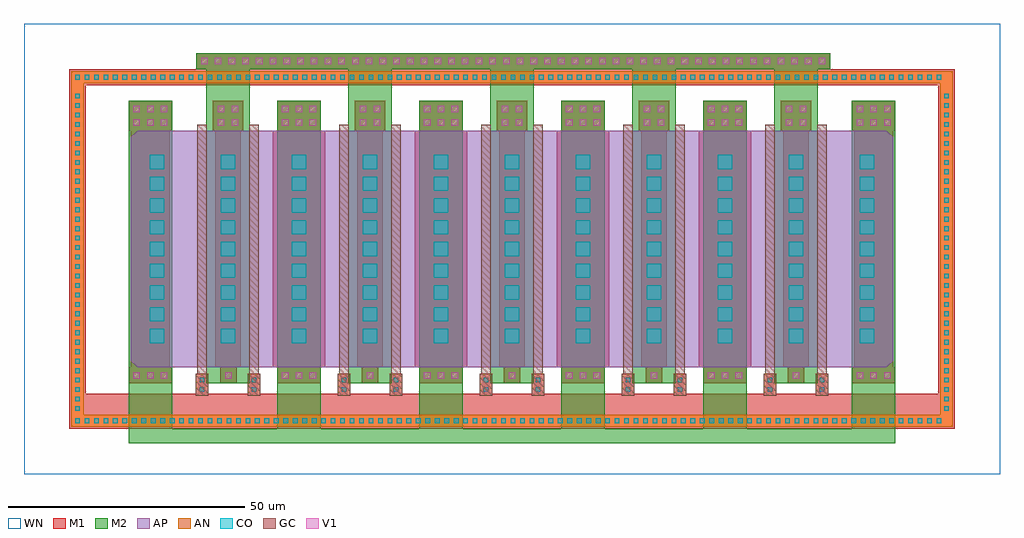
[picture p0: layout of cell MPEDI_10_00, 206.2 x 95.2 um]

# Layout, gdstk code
import gdstk
lib = gdstk.Library(unit=1e-6, precision=1e-09)
def R(c, l, rs):  # rectangles x0, y0, x1, y1
    for r in rs: c.add(gdstk.rectangle(r[:2], r[2:], *l))
def A(c, l, x, y, w, h, nx, ny, dx, dy):  # array of equal rectangles
    R(c, l, [(x+i*dx, y+j*dy, x+i*dx+w, y+j*dy+h) for i in range(nx) for j in range(ny)])
def P(c, l, *ps):  # polygons
    for p in ps: c.add(gdstk.Polygon(p, *l))
AP = (3, 1)
AN = (3, 2)
GC = (8, 1)
CO = (11, 0)
M1 = (13, 0)
V1 = (19, 0)
M2 = (20, 0)
WN = (140, 0)

wlmp_cdns_696587135012 = lib.new_cell('WLMP_CDNS_696587135012')
R(wlmp_cdns_696587135012, WN, [(1.5,1.5,207.7,96.7)])

sgct_cdns_696587135010 = lib.new_cell('SGCT_CDNS_696587135010')
R(sgct_cdns_696587135010, GC, [(-1.3,-2.3,1.3,2.3)])
R(sgct_cdns_696587135010, CO, [(-0.5,-1.5,0.5,-0.5), (-0.5,0.5,0.5,1.5)])
R(sgct_cdns_696587135010, M1, [(-1.3,-2.3,1.3,2.3)])

tc14_cdns_696587135011 = lib.new_cell('TC14_CDNS_696587135011')
R(tc14_cdns_696587135011, M1, [(-4.6,-1.7,4.6,1.7)])
A(tc14_cdns_696587135011, V1, -3.6, -0.7, 1.4, 1.4, 3, 1, 2.9, 0)
R(tc14_cdns_696587135011, M2, [(-4.6,-1.7,4.6,1.7)])

tc14_cdns_696587135012 = lib.new_cell('TC14_CDNS_696587135012')
R(tc14_cdns_696587135012, M1, [(-4.6,-3.1,4.6,3.2)])
A(tc14_cdns_696587135012, V1, -3.6, -2.1, 1.4, 1.4, 3, 2, 2.9, 2.9)
R(tc14_cdns_696587135012, M2, [(-4.6,-3.1,4.6,3.2)])

tc14_cdns_696587135013 = lib.new_cell('TC14_CDNS_696587135013')
R(tc14_cdns_696587135013, M1, [(-1.7,-3.1,1.7,3.2)])
R(tc14_cdns_696587135013, V1, [(-0.7,-2.1,0.7,-0.7), (-0.7,0.8,0.7,2.2)])
R(tc14_cdns_696587135013, M2, [(-1.7,-3.1,1.7,3.2)])

tc14_cdns_696587135014 = lib.new_cell('TC14_CDNS_696587135014')
R(tc14_cdns_696587135014, M1, [(-1.7,-1.7,1.7,1.7)])
R(tc14_cdns_696587135014, V1, [(-0.7,-0.7,0.7,0.7)])
R(tc14_cdns_696587135014, M2, [(-1.7,-1.7,1.7,1.7)])

tc14_cdns_696587135015 = lib.new_cell('TC14_CDNS_696587135015')
R(tc14_cdns_696587135015, M1, [(-66.9,-1.7,67,1.7)])
A(tc14_cdns_696587135015, V1, -65.9, -0.7, 1.4, 1.4, 46, 1, 2.9, 0)
R(tc14_cdns_696587135015, M2, [(-66.9,-1.7,67,1.7)])

mpedi_10_00 = lib.new_cell('MPEDI_10_00')
P(mpedi_10_00, AP, [(25.5,24.1),(24.1,25.5),(24.1,72.7),(25.5,74.1),(183.7,74.1),(185.1,72.7),(185.1,25.5),(183.7,24.1)])
P(mpedi_10_00, AN, [(11.5,11.5),(11.5,84.1),(14.1,84.1),(14.1,14.1),(195.1,14.1),(195.1,84.1),(11.5,84.1),(11.5,86.7),(197.7,86.7),(197.7,11.5)],
  [(11.5,11.5),(11.5,84.1),(14.1,84.1),(14.1,14.1),(195.1,14.1),(195.1,84.1),(11.5,84.1),(11.5,86.7),(197.7,86.7),(197.7,11.5)])
R(mpedi_10_00, GC, [(38.1,22.7,40.1,75.3), (49.1,22.7,51.1,75.3), (68.1,22.7,70.1,75.3), (79.1,22.7,81.1,75.3), (98.1,22.7,100.1,75.3), (109.1,22.7,111.1,75.3), (128.1,22.7,130.1,75.3), (139.1,22.7,141.1,75.3), (158.1,22.7,160.1,75.3), (169.1,22.7,171.1,75.3)])
A(mpedi_10_00, CO, 12.3, 12.3, 1, 1, 92, 2, 2, 72.6)
A(mpedi_10_00, CO, 12.3, 14.9, 1, 1, 1, 34, 0, 2)
A(mpedi_10_00, CO, 195.9, 14.9, 1, 1, 1, 34, 0, 2)
A(mpedi_10_00, CO, 28.1, 29.2, 3, 3, 1, 9, 0, 4.6)
A(mpedi_10_00, CO, 178.1, 29.2, 3, 3, 1, 9, 0, 4.6)
R(mpedi_10_00, CO, [(43.1,29.2,46.1,32.2), (43.1,29.2,46.1,32.2), (58.1,29.2,61.1,32.2), (58.1,29.2,61.1,32.2), (73.1,29.2,76.1,32.2), (73.1,29.2,76.1,32.2), (88.1,29.2,91.1,32.2), (88.1,29.2,91.1,32.2), (103.1,29.2,106.1,32.2), (103.1,29.2,106.1,32.2), (118.1,29.2,121.1,32.2), (118.1,29.2,121.1,32.2), (133.1,29.2,136.1,32.2), (133.1,29.2,136.1,32.2), (148.1,29.2,151.1,32.2), (148.1,29.2,151.1,32.2), (163.1,29.2,166.1,32.2), (163.1,29.2,166.1,32.2), (43.1,33.8,46.1,36.8), (43.1,33.8,46.1,36.8), (58.1,33.8,61.1,36.8), (58.1,33.8,61.1,36.8), (73.1,33.8,76.1,36.8), (73.1,33.8,76.1,36.8), (88.1,33.8,91.1,36.8), (88.1,33.8,91.1,36.8), (103.1,33.8,106.1,36.8), (103.1,33.8,106.1,36.8), (118.1,33.8,121.1,36.8), (118.1,33.8,121.1,36.8), (133.1,33.8,136.1,36.8), (133.1,33.8,136.1,36.8), (148.1,33.8,151.1,36.8), (148.1,33.8,151.1,36.8), (163.1,33.8,166.1,36.8), (163.1,33.8,166.1,36.8), (43.1,38.4,46.1,41.4), (43.1,38.4,46.1,41.4), (58.1,38.4,61.1,41.4), (58.1,38.4,61.1,41.4), (73.1,38.4,76.1,41.4), (73.1,38.4,76.1,41.4), (88.1,38.4,91.1,41.4), (88.1,38.4,91.1,41.4), (103.1,38.4,106.1,41.4), (103.1,38.4,106.1,41.4), (118.1,38.4,121.1,41.4), (118.1,38.4,121.1,41.4), (133.1,38.4,136.1,41.4), (133.1,38.4,136.1,41.4), (148.1,38.4,151.1,41.4), (148.1,38.4,151.1,41.4), (163.1,38.4,166.1,41.4), (163.1,38.4,166.1,41.4), (43.1,43,46.1,46), (43.1,43,46.1,46), (58.1,43,61.1,46), (58.1,43,61.1,46), (73.1,43,76.1,46), (73.1,43,76.1,46), (88.1,43,91.1,46), (88.1,43,91.1,46), (103.1,43,106.1,46), (103.1,43,106.1,46), (118.1,43,121.1,46), (118.1,43,121.1,46), (133.1,43,136.1,46), (133.1,43,136.1,46), (148.1,43,151.1,46), (148.1,43,151.1,46), (163.1,43,166.1,46), (163.1,43,166.1,46), (43.1,47.6,46.1,50.6), (43.1,47.6,46.1,50.6), (58.1,47.6,61.1,50.6), (58.1,47.6,61.1,50.6), (73.1,47.6,76.1,50.6), (73.1,47.6,76.1,50.6), (88.1,47.6,91.1,50.6), (88.1,47.6,91.1,50.6), (103.1,47.6,106.1,50.6), (103.1,47.6,106.1,50.6), (118.1,47.6,121.1,50.6), (118.1,47.6,121.1,50.6), (133.1,47.6,136.1,50.6), (133.1,47.6,136.1,50.6), (148.1,47.6,151.1,50.6), (148.1,47.6,151.1,50.6), (163.1,47.6,166.1,50.6), (163.1,47.6,166.1,50.6), (43.1,52.2,46.1,55.2), (43.1,52.2,46.1,55.2), (58.1,52.2,61.1,55.2), (58.1,52.2,61.1,55.2), (73.1,52.2,76.1,55.2), (73.1,52.2,76.1,55.2), (88.1,52.2,91.1,55.2), (88.1,52.2,91.1,55.2), (103.1,52.2,106.1,55.2), (103.1,52.2,106.1,55.2), (118.1,52.2,121.1,55.2), (118.1,52.2,121.1,55.2), (133.1,52.2,136.1,55.2), (133.1,52.2,136.1,55.2), (148.1,52.2,151.1,55.2), (148.1,52.2,151.1,55.2), (163.1,52.2,166.1,55.2), (163.1,52.2,166.1,55.2), (43.1,56.8,46.1,59.8), (43.1,56.8,46.1,59.8), (58.1,56.8,61.1,59.8), (58.1,56.8,61.1,59.8), (73.1,56.8,76.1,59.8), (73.1,56.8,76.1,59.8), (88.1,56.8,91.1,59.8), (88.1,56.8,91.1,59.8), (103.1,56.8,106.1,59.8), (103.1,56.8,106.1,59.8), (118.1,56.8,121.1,59.8), (118.1,56.8,121.1,59.8), (133.1,56.8,136.1,59.8), (133.1,56.8,136.1,59.8), (148.1,56.8,151.1,59.8), (148.1,56.8,151.1,59.8), (163.1,56.8,166.1,59.8), (163.1,56.8,166.1,59.8), (43.1,61.4,46.1,64.4), (43.1,61.4,46.1,64.4), (58.1,61.4,61.1,64.4), (58.1,61.4,61.1,64.4), (73.1,61.4,76.1,64.4), (73.1,61.4,76.1,64.4), (88.1,61.4,91.1,64.4), (88.1,61.4,91.1,64.4), (103.1,61.4,106.1,64.4), (103.1,61.4,106.1,64.4), (118.1,61.4,121.1,64.4), (118.1,61.4,121.1,64.4), (133.1,61.4,136.1,64.4), (133.1,61.4,136.1,64.4), (148.1,61.4,151.1,64.4), (148.1,61.4,151.1,64.4), (163.1,61.4,166.1,64.4), (163.1,61.4,166.1,64.4), (43.1,66,46.1,69), (43.1,66,46.1,69), (58.1,66,61.1,69), (58.1,66,61.1,69), (73.1,66,76.1,69), (73.1,66,76.1,69), (88.1,66,91.1,69), (88.1,66,91.1,69), (103.1,66,106.1,69), (103.1,66,106.1,69), (118.1,66,121.1,69), (118.1,66,121.1,69), (133.1,66,136.1,69), (133.1,66,136.1,69), (148.1,66,151.1,69), (148.1,66,151.1,69), (163.1,66,166.1,69), (163.1,66,166.1,69)])
R(mpedi_10_00, M1, [(11.5,11.5,197.7,14.1), (11.5,14.1,14.1,84.1), (14.1,14.1,195.1,18.5), (195.1,14.1,197.7,84.1), (24.1,24.1,32.3,74.1), (41.9,24.1,47.3,74.1), (41.9,24.1,47.3,74.1), (54.1,24.1,62.3,74.1), (56.9,24.1,65.1,74.1), (71.9,24.1,77.3,74.1), (71.9,24.1,77.3,74.1), (84.1,24.1,92.3,74.1), (86.9,24.1,95.1,74.1), (101.9,24.1,107.3,74.1), (101.9,24.1,107.3,74.1), (114.1,24.1,122.3,74.1), (116.9,24.1,125.1,74.1), (131.9,24.1,137.3,74.1), (131.9,24.1,137.3,74.1), (144.1,24.1,152.3,74.1), (146.9,24.1,155.1,74.1), (161.9,24.1,167.3,74.1), (161.9,24.1,167.3,74.1), (176.9,24.1,185.1,74.1), (11.5,84.1,197.7,86.7)])
A(mpedi_10_00, M2, 55, 8.1, 9.2, 72.3, 4, 1, 30, 0)
A(mpedi_10_00, M2, 40, 20.7, 9.2, 69.8, 5, 1, 30, 0)
R(mpedi_10_00, M2, [(23.6,8.1,32.8,80.4), (23.6,8.1,25,9.5), (176.4,8.1,185.6,80.4), (38,89.1,39.4,90.5)])
mpedi_10_00.add(gdstk.FlexPath([(170.1,19.4),(170.1,17.2),(39.1,17.2),(39.1,19.4)], 2.6, ends="flush", simple_path=True, layer=13, datatype=0))  # M1
mpedi_10_00.add(gdstk.FlexPath([(196.4,11.1),(196.4,87.1)], 3.4, ends="flush", simple_path=True, layer=13, datatype=0))  # M1
mpedi_10_00.add(gdstk.FlexPath([(12.8,11.1),(12.8,87.1)], 3.4, ends="flush", simple_path=True, layer=13, datatype=0))  # M1
mpedi_10_00.add(gdstk.FlexPath([(11.1,85.4),(198.1,85.4)], 3.4, ends="flush", simple_path=True, layer=13, datatype=0))  # M1
mpedi_10_00.add(gdstk.FlexPath([(11.1,12.8),(198.1,12.8)], 3.4, ends="flush", simple_path=True, layer=13, datatype=0))  # M1
mpedi_10_00.add(gdstk.FlexPath([(185.6,9.6),(23.6,9.6)], 3, ends="flush", simple_path=True, layer=20, datatype=0))  # M2
mpedi_10_00.add(gdstk.Reference(wlmp_cdns_696587135012, (0,0)))
mpedi_10_00.add(gdstk.Reference(sgct_cdns_696587135010, (170.1,20.4)))
mpedi_10_00.add(gdstk.Reference(sgct_cdns_696587135010, (159.1,20.4)))
mpedi_10_00.add(gdstk.Reference(sgct_cdns_696587135010, (140.1,20.4)))
mpedi_10_00.add(gdstk.Reference(sgct_cdns_696587135010, (129.1,20.4)))
mpedi_10_00.add(gdstk.Reference(sgct_cdns_696587135010, (110.1,20.4)))
mpedi_10_00.add(gdstk.Reference(sgct_cdns_696587135010, (99.1,20.4)))
mpedi_10_00.add(gdstk.Reference(sgct_cdns_696587135010, (80.1,20.4)))
mpedi_10_00.add(gdstk.Reference(sgct_cdns_696587135010, (69.1,20.4)))
mpedi_10_00.add(gdstk.Reference(sgct_cdns_696587135010, (50.1,20.4)))
mpedi_10_00.add(gdstk.Reference(sgct_cdns_696587135010, (39.1,20.4)))
mpedi_10_00.add(gdstk.Reference(tc14_cdns_696587135011, (181,22.4)))
mpedi_10_00.add(gdstk.Reference(tc14_cdns_696587135011, (149.6,22.4)))
mpedi_10_00.add(gdstk.Reference(tc14_cdns_696587135011, (119.6,22.4)))
mpedi_10_00.add(gdstk.Reference(tc14_cdns_696587135011, (89.6,22.4)))
mpedi_10_00.add(gdstk.Reference(tc14_cdns_696587135011, (59.6,22.4)))
mpedi_10_00.add(gdstk.Reference(tc14_cdns_696587135011, (28.2,22.4)))
mpedi_10_00.add(gdstk.Reference(tc14_cdns_696587135012, (181,77.2)))
mpedi_10_00.add(gdstk.Reference(tc14_cdns_696587135012, (149.6,77.2)))
mpedi_10_00.add(gdstk.Reference(tc14_cdns_696587135012, (119.6,77.2)))
mpedi_10_00.add(gdstk.Reference(tc14_cdns_696587135012, (89.6,77.2)))
mpedi_10_00.add(gdstk.Reference(tc14_cdns_696587135012, (59.6,77.2)))
mpedi_10_00.add(gdstk.Reference(tc14_cdns_696587135012, (28.2,77.2)))
mpedi_10_00.add(gdstk.Reference(tc14_cdns_696587135013, (166.1,77.2)))
mpedi_10_00.add(gdstk.Reference(tc14_cdns_696587135013, (163.1,77.2)))
mpedi_10_00.add(gdstk.Reference(tc14_cdns_696587135013, (136.1,77.2)))
mpedi_10_00.add(gdstk.Reference(tc14_cdns_696587135013, (133.1,77.2)))
mpedi_10_00.add(gdstk.Reference(tc14_cdns_696587135013, (106.1,77.2)))
mpedi_10_00.add(gdstk.Reference(tc14_cdns_696587135013, (103.1,77.2)))
mpedi_10_00.add(gdstk.Reference(tc14_cdns_696587135013, (76.1,77.2)))
mpedi_10_00.add(gdstk.Reference(tc14_cdns_696587135013, (73.1,77.2)))
mpedi_10_00.add(gdstk.Reference(tc14_cdns_696587135013, (46.1,77.2)))
mpedi_10_00.add(gdstk.Reference(tc14_cdns_696587135013, (43.1,77.2)))
mpedi_10_00.add(gdstk.Reference(tc14_cdns_696587135014, (164.6,22.4)))
mpedi_10_00.add(gdstk.Reference(tc14_cdns_696587135014, (134.6,22.4)))
mpedi_10_00.add(gdstk.Reference(tc14_cdns_696587135014, (104.6,22.4)))
mpedi_10_00.add(gdstk.Reference(tc14_cdns_696587135014, (74.6,22.4)))
mpedi_10_00.add(gdstk.Reference(tc14_cdns_696587135014, (44.7,22.4)))
mpedi_10_00.add(gdstk.Reference(tc14_cdns_696587135015, (104.8,88.8)))

lib.write_gds('MPEDI_10_00.gds')
